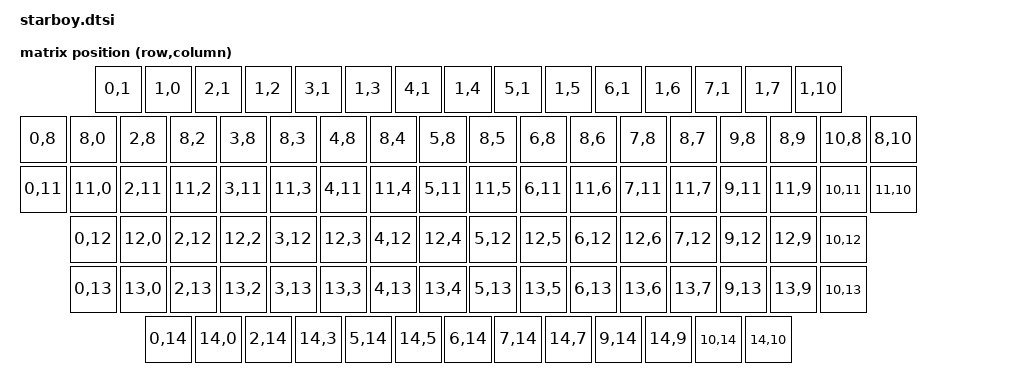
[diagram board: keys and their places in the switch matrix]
#include "starboy-layouts.dtsi"
#include <dt-bindings/zmk/matrix_transform.h>

/ {
    matrix_transform0: matrix_transform0 {
        compatible = "zmk,matrix-transform";
        columns = <15>;
        rows = <15>;
        map = <
            RC(0,1) RC(1,0) RC(2,1) RC(1,2) RC(3,1) RC(1,3) RC(4,1) RC(1,4) RC(5,1) RC(1,5) RC(6,1) RC(1,6) RC(7,1) RC(1,7) RC(1,10)
            RC(0,8) RC(8,0) RC(2,8) RC(8,2) RC(3,8) RC(8,3) RC(4,8) RC(8,4) RC(5,8) RC(8,5) RC(6,8) RC(8,6) RC(7,8) RC(8,7) RC(9,8) RC(8,9) RC(10,8) RC(8,10)
            RC(0,11) RC(11,0) RC(2,11) RC(11,2) RC(3,11) RC(11,3) RC(4,11) RC(11,4) RC(5,11) RC(11,5) RC(6,11) RC(11,6) RC(7,11) RC(11,7) RC(9,11) RC(11,9) RC(10,11) RC(11,10)
            RC(0,12) RC(12,0) RC(2,12) RC(12,2) RC(3,12) RC(12,3) RC(4,12) RC(12,4) RC(5,12) RC(12,5) RC(6,12) RC(12,6) RC(7,12) RC(9,12) RC(12,9) RC(10,12) 
            RC(0,13) RC(13,0) RC(2,13) RC(13,2) RC(3,13) RC(13,3) RC(4,13) RC(13,4) RC(5,13) RC(13,5) RC(6,13) RC(13,6) RC(13,7) RC(9,13) RC(13,9) RC(10,13)
            RC(0,14) RC(14,0) RC(2,14) RC(14,3) RC(5,14) RC(14,5) RC(6,14) RC(7,14) RC(14,7) RC(9,14) RC(14,9) RC(10,14) RC(14,10)
        >;
    };
};

&physical_layout_starboy {
    transform = <&matrix_transform0>;
};

// Encoders for all parts of the keyboard.
// If the encoder(s) are not behaving as expected,
// update steps and triggers-per-rotation to match your hardware.
// All pin assignments are done in the part overlays.

/ {
    encoder0: encoder0 {
        compatible = "alps,ec11";
        steps = <24>;
        status = "disabled";
    };

    sensors: sensors {
        compatible = "zmk,keymap-sensors";
        sensors = <&encoder0>;
        triggers-per-rotation = <20>;
    };
};

